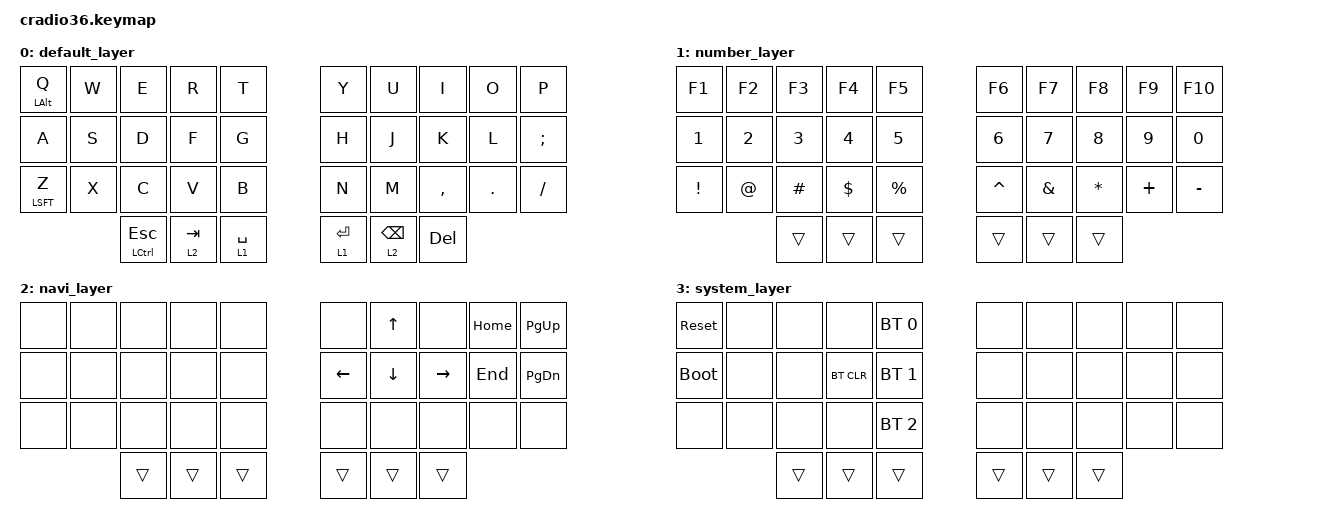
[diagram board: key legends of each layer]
#include <behaviors.dtsi>
#include <dt-bindings/zmk/keys.h>
#include <dt-bindings/zmk/bt.h>

/ {
	behaviors {
        ht: hold_tap {
            compatible = "zmk,behavior-hold-tap";
			#binding-cells = <2>;
            flavor = "tap-preferred";
            tapping-term-ms = <240>;
            quick-tap-ms = <150>;
            require-prior-idle-ms = <100>;
            bindings = <&kp>, <&kp>;
        };
    };

    conditional_layers {
        compatible = "zmk,conditional-layers";
        tri_layer {
            if-layers = <1 2>;
            then-layer = <3>;
        };
    };

//      &kp ESC    &lt 2 &sk LCTRL   &lt 2 SPACE           &lt 1 ENTER  &lt 2 BSPC  &kp DEL  

    keymap {
        compatible = "zmk,keymap";
                
        default_layer {
		bindings = <
        //╭──────────┬──────────┬──────────┬──────────┬──────────╮   ╭──────────┬──────────┬──────────┬──────────┬──────────╮
        //│  ALT/Q   │  W       │  E       │  R       │  T       │   │  Y       │  U       │  I       │  O       │ P        │
        //├──────────┼──────────┼──────────┼──────────┼──────────┤   ├──────────┼──────────┼──────────┼──────────┼────── ───┤
        //│  A       │  S       │  D       │  F       │  G       │   │  H       │  J       │  K       │  L       │ ;        │
        //├──────────┼──────────┼──────────┼──────────┼──────────┤   ├──────────┼──────────┼──────────┼──────────┼──────────┤
        //│ SHFT/Z   │  X       │  C       │  V       │  B       │   │  N       │  M       │ ,        │ .        │ /        │
        //╰──────────┴──────────┼──────────┼──────────┼──────────┤   ├──────────┼──────────┼──────────┼──────────┴──────────╯
        //                      |   ESC    | L1/CTRL  | L2/SPAC  |   | L2/ENTER | L2/BSPC  |   DEL    |
        //                      ╰──────────┴──────────┴──────────╯   ╰──────────┴──────────┴──────────╯

            &ht LALT Q &kp W      &kp E      &kp R         &kp T          &kp Y        &kp U       &kp I      &kp O      &kp P
            &kp A      &kp S      &kp D      &kp F         &kp G          &kp H        &kp J       &kp K      &kp L      &kp SEMI 
            &ht LSFT Z &kp X      &kp C      &kp V         &kp B          &kp N        &kp M       &kp CMMA   &kp DOT    &kp FSLH
                            &ht LCTRL ESC   &lt 2 TAB   &lt 1 SPACE    &lt 1 ENTER  &lt 2 BSPC  &kp DEL  

            >;
		};

        
		number_layer {
			bindings = <
        //╭──────────┬──────────┬──────────┬──────────┬──────────╮   ╭──────────┬──────────┬──────────┬──────────┬──────────╮
        //│    F1    │    F2    │    F3    │    F4    │    F5    │   │    F6    │    F7    │    F8    │    F9    │   F10    │
        //├──────────┼──────────┼──────────┼──────────┼──────────┤   ├──────────┼──────────┼──────────┼──────────┼──────────┤
        //│     1    │     2    │     3    │     4    │     5    │   │     6    │     7    │     8    │     9    │    10    │
        //├──────────┼──────────┼──────────┼──────────┼──────────┤   ├──────────┼──────────┼──────────┼──────────┼──────────┤
        //│     !    │     @    │     #    │     $    │     %    │   │     ^    │     &    │     *    │     +    │     -    │
        //╰──────────┴──────────┼──────────┼──────────┼──────────┤   ├──────────┼──────────┼──────────┼──────────┴──────────╯
        //                      |     "    |     "    |     "    |   |     .    |     "    |     "    |
        //                      ╰──────────┴──────────┴──────────╯   ╰──────────┴──────────┴──────────╯

			&kp F1 		&kp F2 		&kp F3		&kp F4 		&kp F5    	&kp F6 		&kp F7 		&kp F8 		&kp F9 		&kp F10 
			&kp N1 		&kp N2		&kp N3 		&kp N4 		&kp N5 		&kp N6 		&kp N7 		&kp N8 		&kp N9 		&kp N0 
            &kp EXCL   	&kp AT		&kp HASH   	&kp DLLR   	&kp PRCNT   &kp CARET  	&kp AMPS  	&kp STAR  	&kp PLUS   	&kp MINUS
									&trans     	&trans     	&trans   	&trans    	&trans    	&trans

			>;
		};


		navi_layer {
			bindings = <
        //╭──────────┬──────────┬──────────┬──────────┬──────────╮   ╭──────────┬──────────┬──────────┬──────────┬──────────╮
        //│          │          │          │          │          │   │          │    UP    │          │   HOME   │  PG UP   │
        //├──────────┼──────────┼──────────┼──────────┼──────────┤   ├──────────┼──────────┼──────────┼──────────┼──────────┤
        //│          │          │          │          │          │   │   LEFT   │   DOWN   │   RIGHT  │   END    │  PG DW   │
        //├──────────┼──────────┼──────────┼──────────┼──────────┤   ├──────────┼──────────┼──────────┼──────────┼──────────┤
        //│          │          │          │          │          │   │          │          │          │          │          │
        //╰──────────┴──────────┼──────────┼──────────┼──────────┤   ├──────────┼──────────┼──────────┼──────────┴──────────╯
        //                      |     "    |     "    |     "    |   |     "    |     "    |     "    |
        //                      ╰──────────┴──────────┴──────────╯   ╰──────────┴──────────┴──────────╯

			&none 		&none 		&none 		&none 		&none 		&none 		&kp UP 		&none 	    &kp HOME    &kp PG_UP
			&none 		&none 		&none 		&none 		&none 		&kp LEFT    &kp DOWN	&kp RIGHT 	&kp END     &kp PG_DN
            &none 		&none 		&none 		&none 		&none 		&none  		&none       &none 		&none 		&none 
									&trans     	&trans     	&trans 		&trans     	&trans    	&trans 

			>;
		};

		system_layer {
			bindings = <
        //╭──────────┬──────────┬──────────┬──────────┬──────────╮   ╭──────────┬──────────┬──────────┬──────────┬──────────╮
        //│ RESET    │          │          │          │ BT 0     │   │          │          │          │          │          │
        //├──────────┼──────────┼──────────┼──────────┼──────────┤   ├──────────┼──────────┼──────────┼──────────┼──────────┤
        //│ BOOT     │          │          │ BT CLR   │ BT 1     │   │          │          │          │          │          │
        //├──────────┼──────────┼──────────┼──────────┼──────────┤   ├──────────┼──────────┼──────────┼──────────┼──────────┤
        //│          │          │          │          │ BT 2     │   │          │          │          │          │          │
        //╰──────────┴──────────┼──────────┼──────────┼──────────┤   ├──────────┼──────────┼──────────┼──────────┴──────────╯
        //                      |     "    |     "    |     "    |   |     "    |     "    |     "    |
        //                      ╰──────────┴──────────┴──────────╯   ╰──────────┴──────────┴──────────╯

			&sys_reset 	&none 	&none 		&none 		&bt BT_SEL 0 		&none  		&none       &none 		&none 		&none 
			&bootloader	&none 	&none 		&bt BT_CLR  &bt BT_SEL 1		&none  		&none       &none 		&none 		&none 
            &none 		&none   &none 		&none 	    &bt BT_SEL 2 		&none  		&none       &none 		&none 		&none 
								&trans     	&trans     	&trans 				&trans     	&trans    	&trans 

			>;
		};


	};

};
